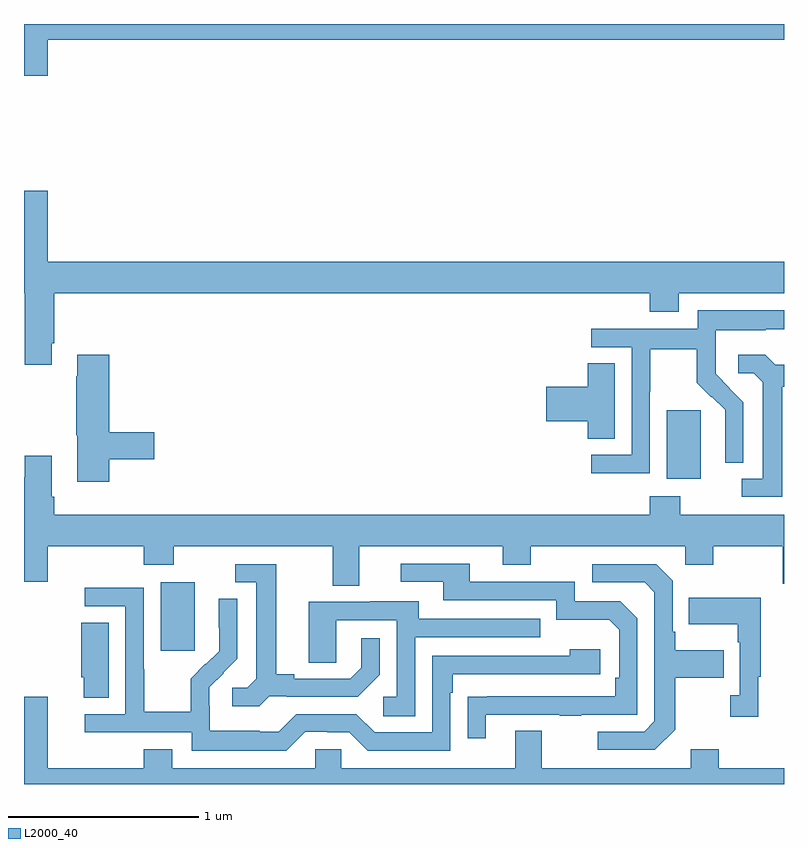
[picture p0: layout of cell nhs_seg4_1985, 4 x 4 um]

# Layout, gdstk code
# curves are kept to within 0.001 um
import gdstk
lib = gdstk.Library(unit=1e-6, precision=1e-09)
def R(c, l, rs):  # rectangles x0, y0, x1, y1
    for r in rs: c.add(gdstk.rectangle(r[:2], r[2:], *l))
def P(c, l, *ps):  # polygons
    for p in ps: c.add(gdstk.Polygon(p, *l))
L2000_40 = (2000, 40)

nhs_seg4_1985 = lib.new_cell('nhs_seg4_1985')
R(nhs_seg4_1985, L2000_40, [(213.719,797.601,213.898,797.962), (216.383,798.506,216.562,798.867)])
P(nhs_seg4_1985, L2000_40, [(217,800.9),(213,800.9),(213,800.628),(213.124,800.628),(213.124,800.816),(217,800.816)],
  [(213.145,799.219),(213.158,799.219),(213.158,799.484),(216.293,799.484),(216.293,799.385),(216.445,799.385),(216.445,799.484),(217,799.484),(217,799.648),(213.124,799.648),(213.124,800.023),(213,800.023),(213,799.484),(213.005,799.484),(213.005,799.107),(213.145,799.107)],
  [(216.294,798.964),(216.297,798.964),(216.297,799.188),(216.541,799.188),(216.541,799.013),(216.618,798.936),(216.621,798.939),(216.692,798.869),(216.692,798.746),(216.69,798.746),(216.69,798.592),(216.786,798.592),(216.786,798.91),(216.64,799.058),(216.64,799.155),(216.642,799.155),(216.642,799.289),(216.905,799.289),(216.905,799.293),(217,799.293),(217,799.393),(216.546,799.393),(216.546,799.296),(215.985,799.296),(215.985,799.2),(216.198,799.2),(216.198,798.633),(215.985,798.633),(215.985,798.535),(216.294,798.535)],
  [(216.991,798.992),(217,798.992),(217,799.107),(216.954,799.107),(216.902,799.159),(216.759,799.159),(216.759,799.062),(216.84,799.062),(216.887,799.015),(216.887,798.507),(216.777,798.507),(216.777,798.411),(216.991,798.411)],
  [(213.449,798.61),(213.685,798.61),(213.685,798.752),(213.449,798.752),(213.449,799.159),(213.281,799.159),(213.281,799.046),(213.274,799.046),(213.274,798.735),(213.281,798.735),(213.281,798.492),(213.449,798.492)],
  [(216.109,799.115),(215.966,799.115),(215.966,798.992),(215.748,798.992),(215.748,798.809),(215.966,798.809),(215.966,798.718),(216.109,798.718)],
  [(214.765,798.152),(215.519,798.152),(215.519,798.053),(215.667,798.053),(215.667,798.152),(216.48,798.152),(216.48,798.053),(216.627,798.053),(216.627,798.152),(216.994,798.152),(216.994,797.953),(217,797.953),(217,798.316),(216.453,798.316),(216.453,798.415),(216.293,798.415),(216.293,798.316),(213.158,798.316),(213.158,798.412),(213.145,798.412),(213.145,798.628),(213.005,798.628),(213.005,798.515),(213,798.515),(213,797.964),(213.124,797.964),(213.124,798.152),(213.629,798.152),(213.629,798.053),(213.789,798.053),(213.789,798.152),(214.625,798.152),(214.625,797.944),(214.765,797.944)],
  [(215.431,797.265),(215.821,797.265),(215.821,797.26),(215.933,797.26),(215.933,797.265),(216.228,797.265),(216.228,797.772),(216.138,797.862),(215.898,797.862),(215.898,797.964),(215.347,797.964),(215.347,798.06),(214.983,798.06),(214.983,797.964),(215.207,797.964),(215.207,797.868),(215.802,797.868),(215.802,797.765),(216.079,797.765),(216.132,797.712),(216.132,797.458),(216.112,797.458),(216.112,797.361),(215.335,797.36),(215.335,797.142),(215.431,797.142)],
  [(216.427,797.185),(216.427,797.458),(216.683,797.458),(216.683,797.605),(216.427,797.605),(216.427,797.701),(216.414,797.701),(216.414,797.97),(216.327,798.057),(215.991,798.057),(215.991,797.961),(216.267,797.961),(216.318,797.91),(216.318,797.229),(216.264,797.175),(216.021,797.175),(216.021,797.079),(216.321,797.079)],
  [(214.29,797.361),(214.384,797.361),(214.384,797.358),(214.756,797.358),(214.872,797.474),(214.872,797.668),(214.775,797.668),(214.775,797.511),(214.718,797.454),(214.423,797.454),(214.423,797.477),(214.327,797.477),(214.327,798.057),(214.113,798.057),(214.113,797.961),(214.223,797.961),(214.223,797.453),(214.176,797.406),(214.095,797.406),(214.095,797.309),(214.238,797.309)],
  [(214.479,797.175),(214.595,797.175),(214.595,797.172),(214.713,797.172),(214.809,797.076),(215.244,797.076),(215.244,797.381),(215.257,797.381),(215.257,797.478),(216.034,797.478),(216.034,797.608),(215.873,797.608),(215.873,797.574),(215.148,797.574),(215.148,797.172),(214.845,797.172),(214.749,797.268),(214.434,797.268),(214.341,797.175),(214.241,797.175),(214.241,797.179),(213.978,797.179),(213.978,797.313),(213.976,797.313),(213.976,797.41),(214.122,797.558),(214.122,797.876),(214.026,797.876),(214.026,797.722),(214.028,797.722),(214.028,797.6),(213.957,797.529),(213.954,797.532),(213.877,797.455),(213.877,797.281),(213.633,797.281),(213.633,797.504),(213.63,797.504),(213.63,797.934),(213.321,797.934),(213.321,797.835),(213.534,797.835),(213.534,797.268),(213.321,797.268),(213.321,797.172),(213.882,797.172),(213.882,797.075),(214.379,797.075)],
  [(216.865,797.465),(216.877,797.465),(216.877,797.881),(216.499,797.881),(216.499,797.741),(216.756,797.741),(216.756,797.645),(216.768,797.645),(216.768,797.366),(216.717,797.366),(216.717,797.253),(216.865,797.253)],
  [(215.058,797.673),(215.717,797.673),(215.717,797.769),(215.077,797.769),(215.077,797.863),(214.823,797.863),(214.823,797.859),(214.499,797.859),(214.499,797.539),(214.644,797.539),(214.644,797.763),(214.962,797.763),(214.962,797.358),(214.89,797.358),(214.89,797.257),(215.058,797.257)],
  [(213.445,797.75),(213.302,797.75),(213.302,797.461),(213.314,797.461),(213.314,797.353),(213.445,797.353)],
  [(217,796.984),(216.657,796.984),(216.657,797.083),(216.509,797.083),(216.509,796.984),(215.725,796.984),(215.725,797.179),(215.585,797.179),(215.585,796.984),(214.671,796.984),(214.671,797.082),(214.533,797.082),(214.533,796.984),(213.781,796.984),(213.781,797.083),(213.629,797.083),(213.629,796.984),(213.124,796.984),(213.124,797.359),(213,797.359),(213,796.9),(217,796.9)])

lib.write_gds('nhs_seg4_1985.gds')
